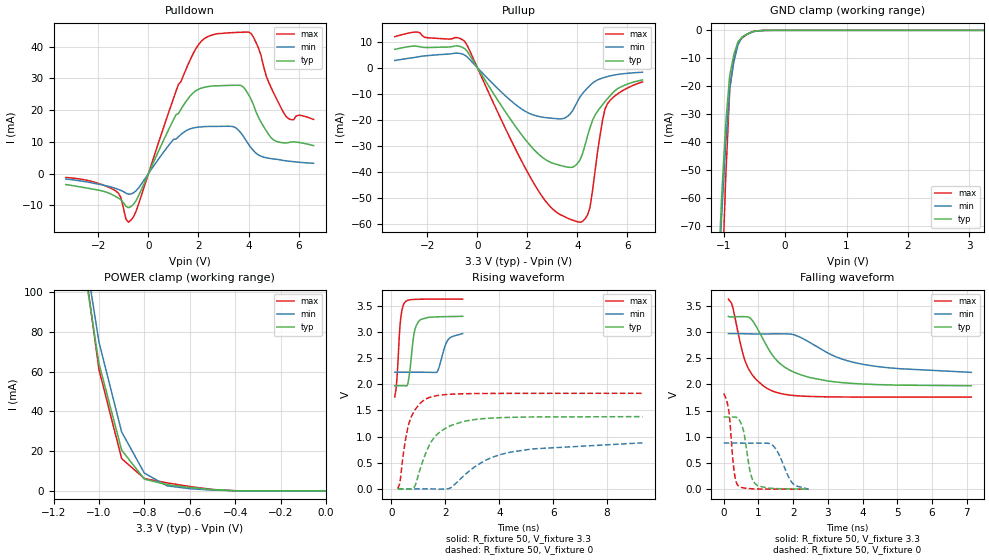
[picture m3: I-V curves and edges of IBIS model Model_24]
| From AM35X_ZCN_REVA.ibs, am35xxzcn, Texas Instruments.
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| Model based on original model for BC1833DV65ATPBFHP18LL_7LM_X50
|   Sub model LM_X50_PD_PU_OFF_3P3
[model]   Model_24
|[Description]  3.3V-I/O-PI-X
|[Input Load]   PI
|[Output Drive]
|Voltage   3.3V
|Mode   I/O
Model_type   I/O
Polarity   Non-Inverting
Enable   Active-Low
Vinl =  0.8V
Vinh =  2V
Cref =  15pF
Rref =  100.0000M
Vref =  0V
Vmeas =  1.65
C_comp   1.569055p   1.388637p   1.6677p
[Model Spec]
Vinl   0.8V   0.8V   0.8V
Vinh   2V   2V   2V
[Temperature Range]   25   125   -40
[Voltage Range]   3.3   2.97   3.63
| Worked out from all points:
|   slope of the pulldown table from 0 to 0.495 V, typ, clamps not added: 57.2 ohm
|   slope of the pullup table from 0 to 0.495 V, typ, clamps not added: 64.6 ohm
|   GND clamp passes 1 mA (typ) near -0.58 V on its own axis
|   POWER clamp passes 1 mA (typ) near -0.53 V on its own axis
|   rising waveform, R_fixture 50, V_fixture 3.3: 20-80 % time 189ps typ, 268ps min, 136ps max; typ from 1.97 V to 3.3 V
|   rising waveform, R_fixture 50, V_fixture 0: 20-80 % time 841ps typ, 1.91ns min, 448ps max; typ from 0 V to 1.38 V
|   falling waveform, R_fixture 50, V_fixture 3.3: 20-80 % time 1.01ns typ, 1.64ns min, 553ps max; typ from 3.3 V to 1.97 V
|   falling waveform, R_fixture 50, V_fixture 0: 20-80 % time 210ps typ, 357ps min, 143ps max; typ from 1.38 V to 0 V
[POWER_clamp]
-3.3V     2.404A     2.849A     2.585A
-1.067V   114.2mA    123.6mA    117.4mA
-1.033V   89.22mA    99.31mA    89.28mA
-1V       64.23mA    74.99mA    61.18mA
-900mV    20.57mA    29.72mA    16.26mA
-800mV    5.954mA    8.975mA    6.268mA
-700mV    3.161mA    2.56mA     4.067mA
-600mV    1.76mA     1.128mA    2.228mA
-500mV    654.7uA    418.2uA    736.2uA
-400mV    102.9uA    85.38uA    80.17uA
0V        9.32nA     42.2nA     36.62nA
[Pulldown]
-3.3V     -3.482mA   -1.731mA   -1.253mA
-1.3V     -7.299mA   -4.736mA   -5.547mA
-900mV    -10.35mA   -6.182mA   -14.42mA
-700mV    -10.42mA   -6.462mA   -14.71mA
1.2V      18.95mA    11.64mA    28.17mA
2V        26.61mA    14.65mA    40.68mA
2.6V      27.65mA    14.87mA    43.85mA
3.5V      27.86mA    14.36mA    44.53mA
4.1V      23.47mA    8.141mA    44.25mA
4.9V      11.31mA    4.711mA    27.15mA
5.5V      9.66mA     3.997mA    18.01mA
6.6V      8.818mA    3.224mA    17.07mA
[Pullup]
-3.3V     7.018mA    2.752mA    11.89mA
-2.4V     8.195mA    4.095mA    13.65mA
-500mV    7.249mA    4.793mA    9.977mA
2.2V      -30.8mA    -18.02mA   -43.45mA
2.9V      -36.22mA   -19.34mA   -53.21mA
3.5V      -37.97mA   -19.31mA   -57.28mA
4.1V      -35.47mA   -11.3mA    -59.32mA
4.5V      -23.14mA   -6.857mA   -53.71mA
4.8V      -16.8mA    -4.734mA   -32.6mA
5.1V      -13.06mA   -3.688mA   -15.95mA
5.6V      -8.137mA   -2.623mA   -10.11mA
6.6V      -4.691mA   -1.758mA   -5.452mA
[GND_clamp]
-3.3V     -1.939A    -1.746A    -3.236A
-1.1V     -94.77mA   -97.88mA   -147.5mA
-1.033V   -60mA      -66.87mA   -95.35mA
-966.7mV  -33.71mA   -41.08mA   -53.17mA
-900mV    -15.89mA   -20.5mA    -20.9mA
-833.3mV  -8.644mA   -11.27mA   -10.41mA
-766.7mV  -4.155mA   -5.24mA    -4.355mA
-700mV    -2.422mA   -2.415mA   -2.734mA
-566.7mV  -842.1uA   -880.6uA   -805.8uA
-500mV    -315uA     -413uA     -247.5uA
-300mV    -13.91uA   -20.32uA   -14.31uA
3.233V    8.994nA    8.034uA    33.58nA
[Ramp]
dV/dt_f 0.79552329/1.0111088n 0.44388419/1.6293742n  1.1232704/0.55237363n
dV/dt_r 0.83215258/0.84027246n 0.53104946/1.9078305n  1.0994342/0.44778931n
R_load = 50
[Rising Waveform]
R_fixture = 50
V_fixture = 3.3
V_fixture_min = 2.97
V_fixture_max = 3.63
124.6ps   1.974V     2.23V      1.758V
207.3ps   1.974V     2.23V      2.134V
331.9ps   1.974V     2.23V      3.203V
499.4ps   1.972V     2.23V      3.572V
616.1ps   2.037V     2.23V      3.608V
835.9ps   2.959V     2.23V      3.623V
1.026ns   3.212V     2.23V      3.627V
1.683ns   3.29V      2.232V     3.629V
2.095ns   3.295V     2.847V     3.63V
2.642ns   3.3V       2.97V      3.63V
[Rising Waveform]
R_fixture = 50
V_fixture = 0
V_fixture_min = 0
V_fixture_max = 0
240.3ps   8.025nV    103.4nV    4.167nV
320.5ps   -166.1nV   -63.55nV   147.4mV
527.2ps   -1.449mV   27.46nV    955.3mV
681.7ps   -5.02mV    -242.9pV   1.304V
882.7ps   69.95mV    153.9nV    1.517V
1.379ns   807.8mV    -141.9uV   1.742V
2.185ns   1.205V     18.72mV    1.81V
3.024ns   1.321V     396.9mV    1.823V
4.463ns   1.369V     706.8mV    1.827V
9.314ns   1.382V     880.5mV    1.827V
[Falling Waveform]
R_fixture = 50
V_fixture = 3.3
V_fixture_min = 2.97
V_fixture_max = 3.63
134.4ps   3.3V       2.97V      3.63V
243.7ps   3.29V      2.97V      3.511V
532ps     3.294V     2.969V     2.638V
697ps     3.288V     2.966V     2.323V
940.9ps   3.102V     2.964V     2.089V
1.418ns   2.545V     2.967V     1.871V
1.983ns   2.247V     2.955V     1.791V
2.956ns   2.07V      2.616V     1.763V
4.342ns   1.999V     2.349V     1.758V
7.134ns   1.974V     2.23V      1.758V
[Falling Waveform]
R_fixture = 50
V_fixture = 0
V_fixture_min = 0
V_fixture_max = 0
0s        1.382V     880.5mV    1.827V
142.7ps   1.378V     880.5mV    1.51V
293.7ps   1.377V     880.5mV    377.8mV
403.5ps   1.358V     880mV      76.91mV
566.2ps   1.125V     879.3mV    24.12mV
757.2ps   349.3mV    878.5mV    10.5mV
897.8ps   111.1mV    878.6mV    5.201mV
1.412ns   15.28mV    836.4mV    426uV
1.972ns   4.394mV    122.7mV    40.19uV
2.447ns   8.025nV    103.4nV    4.167nV
